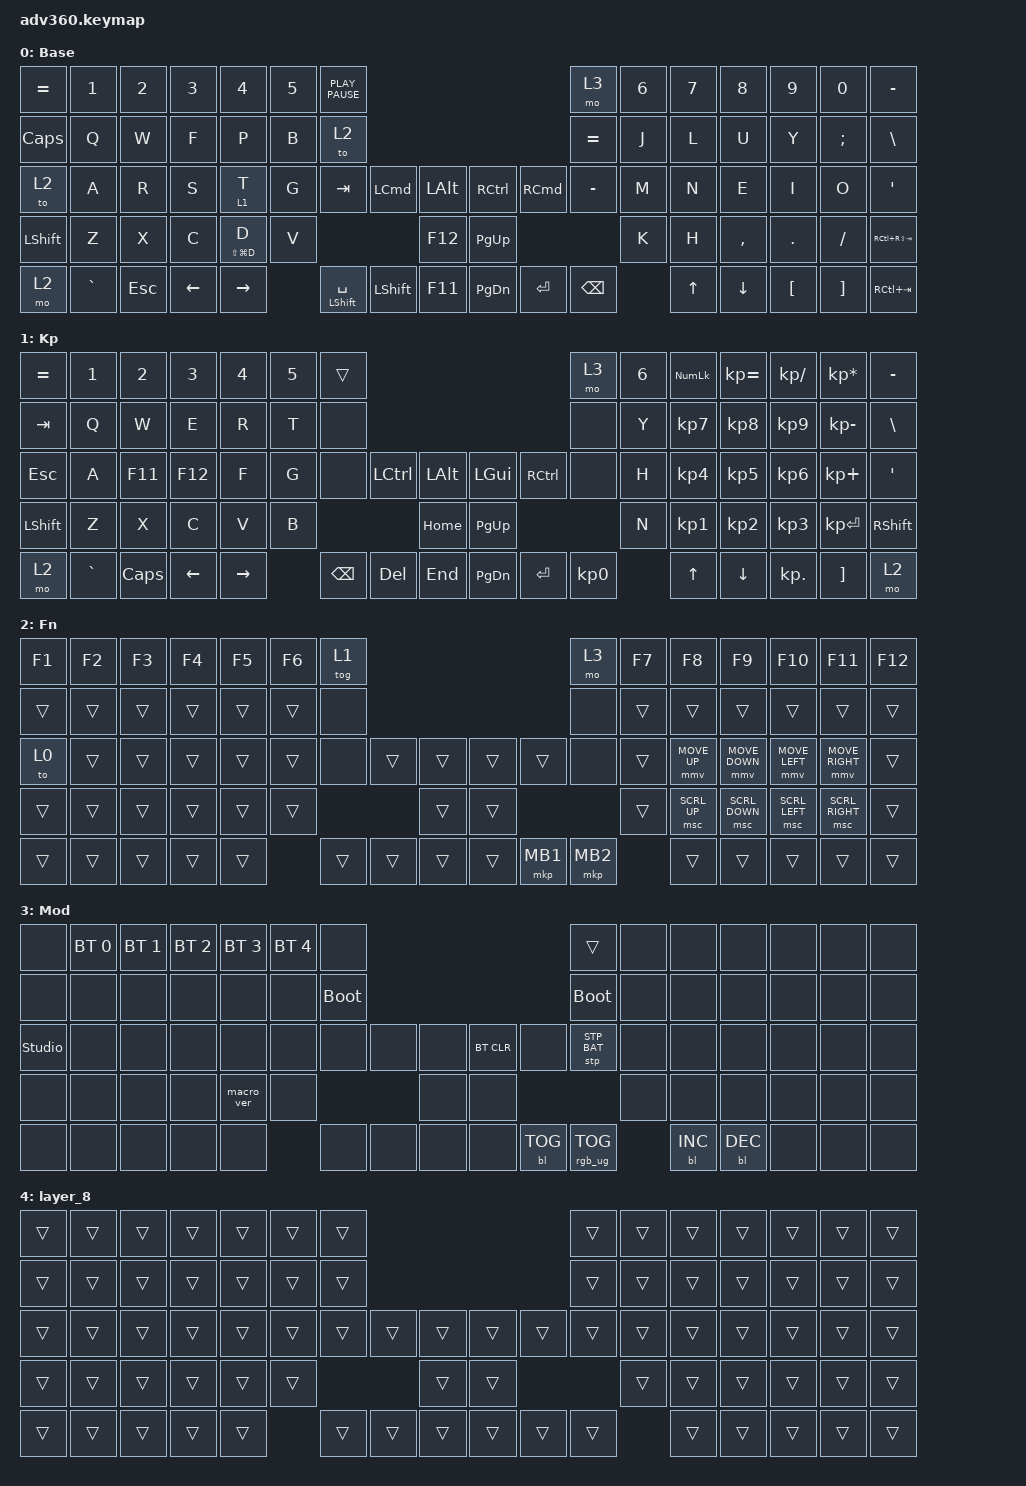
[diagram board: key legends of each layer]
#include <dt-bindings/zmk/stp.h>

#define ZMK_POINTING_DEFAULT_MOVE_VAL 800

#include <behaviors.dtsi>
#include <dt-bindings/zmk/backlight.h>
#include <dt-bindings/zmk/bt.h>
#include <dt-bindings/zmk/keys.h>
#include <dt-bindings/zmk/pointing.h>
#include <dt-bindings/zmk/rgb.h>

/ {
    behaviors {
        #include "macros.dtsi"
      #include "version.dtsi"

        hm: homerow_mods {
            compatible = "zmk,behavior-hold-tap";
            label = "HOMEROW_MODS";
            #binding-cells = <2>;
            tapping-term-ms = <200>;
            quick_tap_ms = <175>;
            flavor = "tap-preferred";
            bindings = <&kp>, <&kp>;
        };
    };

    keymap {
        compatible = "zmk,keymap";

        default_layer {
            display-name = "Base";
            bindings = <
&kp EQUAL  &kp N1     &kp N2   &kp N3    &kp N4           &kp N5  &kp K_PLAY_PAUSE                                                          &mo 3          &kp N6  &kp N7  &kp N8     &kp N9    &kp N0         &kp MINUS
&kp CAPS   &kp Q      &kp W    &kp F     &kp P            &kp B   &to 2                                                                     &kp EQUAL      &kp J   &kp L   &kp U      &kp Y     &kp SEMICOLON  &kp BSLH
&to 2      &kp A      &kp R    &kp S     &lt 1 T          &kp G   &kp TAB               &kp LCMD        &kp LALT      &kp RCTRL  &kp RCMD   &kp MINUS      &kp M   &kp N   &kp E      &kp I     &kp O          &kp SQT
&kp LSHFT  &kp Z      &kp X    &kp C     &mt LS(LG(D)) D  &kp V                                         &kp F12       &kp PG_UP                            &kp K   &kp H   &kp COMMA  &kp DOT   &kp FSLH       &kp RC(RS(TAB))
&mo 2      &kp GRAVE  &kp ESC  &kp LEFT  &kp RIGHT                &mt LEFT_SHIFT SPACE  &kp LEFT_SHIFT  &kp F11       &kp PG_DN  &kp ENTER  &kp BACKSPACE          &kp UP  &kp DOWN   &kp LBKT  &kp RBKT       &kp RC(TAB)
            >;
        };

        keypad {
            display-name = "Kp";
            bindings = <
&kp EQUAL  &kp N1     &kp N2    &kp N3    &kp N4     &kp N5  &trans                                                   &mo 3      &kp N6  &kp KP_NUM  &kp KP_EQUAL  &kp KP_DIVIDE  &kp KP_MULTIPLY  &kp MINUS
&kp TAB    &kp Q      &kp W     &kp E     &kp R      &kp T   &none                                                    &none      &kp Y   &kp KP_N7   &kp KP_N8     &kp KP_N9      &kp KP_MINUS     &kp BSLH
&kp ESC    &kp A      &kp F11   &kp F12   &kp F      &kp G   &none     &kp LCTRL  &kp LALT      &kp LGUI   &kp RCTRL  &none      &kp H   &kp KP_N4   &kp KP_N5     &kp KP_N6      &kp KP_PLUS      &kp SQT
&kp LSHFT  &kp Z      &kp X     &kp C     &kp V      &kp B                        &kp HOME      &kp PG_UP                        &kp N   &kp KP_N1   &kp KP_N2     &kp KP_N3      &kp KP_ENTER     &kp RSHFT
&mo 2      &kp GRAVE  &kp CAPS  &kp LEFT  &kp RIGHT          &kp BSPC  &kp DEL    &kp END       &kp PG_DN  &kp ENTER  &kp KP_N0          &kp UP      &kp DOWN      &kp KP_DOT     &kp RBKT         &mo 2
            >;
        };

        fn {
            display-name = "Fn";
            bindings = <
&kp F1  &kp F2  &kp F3  &kp F4  &kp F5  &kp F6  &tog 1                                        &mo 3     &kp F7  &kp F8        &kp F9          &kp F10         &kp F11          &kp F12
&trans  &trans  &trans  &trans  &trans  &trans  &none                                         &none     &trans  &trans        &trans          &trans          &trans           &trans
&to 0   &trans  &trans  &trans  &trans  &trans  &none   &trans  &trans      &trans  &trans    &none     &trans  &mmv MOVE_UP  &mmv MOVE_DOWN  &mmv MOVE_LEFT  &mmv MOVE_RIGHT  &trans
&trans  &trans  &trans  &trans  &trans  &trans                  &trans      &trans                      &trans  &msc SCRL_UP  &msc SCRL_DOWN  &msc SCRL_LEFT  &msc SCRL_RIGHT  &trans
&trans  &trans  &trans  &trans  &trans          &trans  &trans  &trans      &trans  &mkp MB1  &mkp MB2          &trans        &trans          &trans          &trans           &trans
            >;
        };

        mod {
            display-name = "Mod";
            bindings = <
&none           &bt BT_SEL 0  &bt BT_SEL 1  &bt BT_SEL 2  &bt BT_SEL 3  &bt BT_SEL 4  &none                                                  &trans           &none  &none       &none       &none  &none  &none
&none           &none         &none         &none         &none         &none         &bootloader                                            &bootloader      &none  &none       &none       &none  &none  &none
&studio_unlock  &none         &none         &none         &none         &none         &none        &none  &none      &bt BT_CLR  &none       &stp STP_BAT     &none  &none       &none       &none  &none  &none
&none           &none         &none         &none         &macro_ver    &none                             &none      &none                                    &none  &none       &none       &none  &none  &none
&none           &none         &none         &none         &none                       &none        &none  &none      &none       &bl BL_TOG  &rgb_ug RGB_TOG         &bl BL_INC  &bl BL_DEC  &none  &none  &none
            >;
        };

        layer_8 {
            bindings = <
&trans  &trans  &trans  &trans  &trans  &trans  &trans                                      &trans  &trans  &trans  &trans  &trans  &trans  &trans
&trans  &trans  &trans  &trans  &trans  &trans  &trans                                      &trans  &trans  &trans  &trans  &trans  &trans  &trans
&trans  &trans  &trans  &trans  &trans  &trans  &trans  &trans  &trans      &trans  &trans  &trans  &trans  &trans  &trans  &trans  &trans  &trans
&trans  &trans  &trans  &trans  &trans  &trans                  &trans      &trans                  &trans  &trans  &trans  &trans  &trans  &trans
&trans  &trans  &trans  &trans  &trans          &trans  &trans  &trans      &trans  &trans  &trans          &trans  &trans  &trans  &trans  &trans
            >;
        };
    };
};
